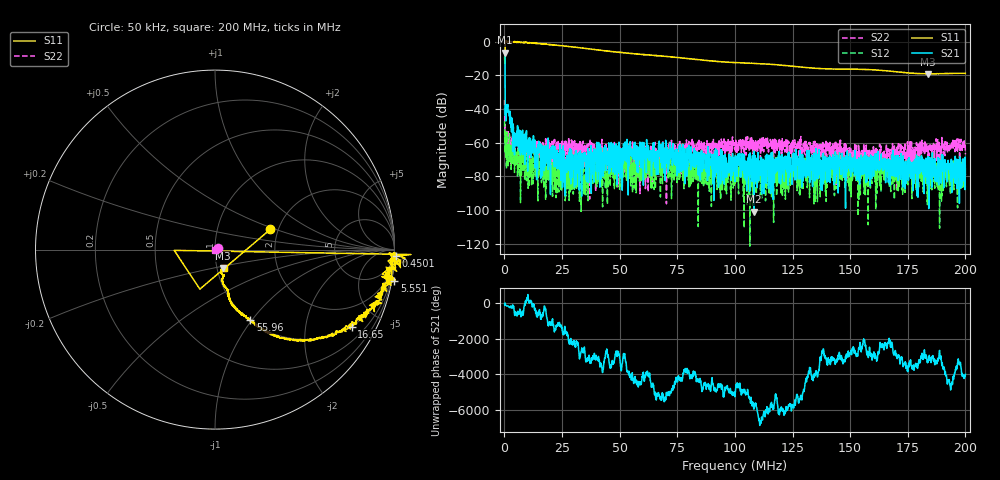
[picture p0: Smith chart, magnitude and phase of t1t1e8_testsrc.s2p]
! 12-May-26 12:35:12 PM
! E:\REC_VNA_20260512\T1T1E8_TESTSRC.S2P
! CHANNEL.1
! TR.MEASUREMENT
! CORRECTED.DATA
# GHZ S RI R 50.0
! FREQ.GHZ  S11RE  S11IM  S21RE  S21IM  S12RE  S12IM  S22RE  S22IM
!; PortSelection: Port_12
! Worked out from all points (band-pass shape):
!   2000 points, 50 kHz to 200 MHz, reference 50 ohm
!   highest |S21| = -6.56 dB at 50 kHz (marker M1); lowest = -100.9 dB at 108.2 MHz (marker M2)
!   |S21| within 3 dB of the highest: start of sweep to 251.8 kHz
!   lowest |S11| = -19.1 dB at 183.9 MHz (marker M3), VSWR 1.25, Z = 53.3 - j11 ohm
!   |S11| at or under -10 dB: 60.72 kHz to 271.2 kHz (210.4 kHz wide, 127 % of centre); 79.26116 MHz to 79.37369 MHz (112.5 kHz wide, 0.142 % of centre); 79.64 MHz to end of sweep
!   |S22| runs from -96.2 to -34.5 dB; largest |S21 - S12| = 0.47
!   S11 on the Smith chart (normalised r, x): 50 kHz: 1.81, +0.46; 450.1 kHz: -10, -52; 5.551 MHz: -1, -11; 16.65 MHz: 0.98, -3.56; 55.96 MHz: 1.01, -0.98; 200 MHz: 1.08, -0.23
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5e-05  0.3077 0.1123  0.3579 -0.3042  0.00313 -0.00309  0.0151 0.0114
0.0004501  1.007 -0.0373  -0.00352 -0.0108  -0.000906 0.000553  5.49e-05 -0.00183
0.001350325  1.011 -0.0481  -0.0111 -0.0041  0.000828 0.000226  -0.000377 -9.01e-05
0.004351076  0.9486 -0.1262  8.85e-05 0.000428  1.17e-05 0.000131  0.00145 0.00105
0.005551376  0.9988 -0.1769  -0.00101 6.8e-05  -0.000265 0.000458  0.00114 -0.000481
0.01665415  0.7619 -0.4293  0.000329 -1e-05  0.000109 -0.000259  0.00106 8.42e-05
0.02105525  0.6431 -0.476  0.000285 -0.000342  -7.87e-05 -0.000223  0.000162 9.8e-05
0.0308577  0.4619 -0.5059  0.000317 0.000492  -2.05e-05 -7.15e-05  0.000497 0.000789
0.03345835  0.419 -0.4983  1.62e-05 -2.03e-05  -6.36e-05 4.34e-05  0.000289 8.43e-05
0.04766191  0.2524 -0.4354  0.00077 0.000324  2.43e-05 -3.64e-05  0.000953 -0.000372
0.05036258  0.2303 -0.4224  5.65e-05 0.000124  8.06e-05 0.000235  0.000492 0.000114
0.05226306  0.2188 -0.4135  0.000279 -0.000915  6e-05 0.000225  0.000273 9.3e-05
0.05596398  0.1977 -0.3927  -4.67e-05 -0.000327  -0.000137 3.47e-05  0.00016 0.000161
0.06676668  0.1431 -0.358  0.000299 0.00013  -0.000387 -0.000228  0.000221 -0.000224
0.100075  0.0726 -0.2322  1.56e-05 -6.92e-05  4.35e-05 -4.82e-05  0.000502 0.000379
0.108177  0.0666 -0.2187  -9e-06 1e-07  0.000114 -6.02e-05  0.000308 0.000948
0.1333833  0.042 -0.1606  7.57e-05 0.000138  -9.38e-05 -2.12e-05  -0.000159 0.00058
0.1476869  0.0505 -0.145  0.000277 0.000202  -8.96e-05 0.000107  -0.000236 0.000502
0.1513878  0.0508 -0.1447  0.00016 -0.000114  0.000151 -0.000142  0.000144 0.000128
0.1666917  0.0362 -0.1303  1.36e-05 -0.000169  6.84e-05 0.000136  -0.000574 -0.000279
0.183896  0.0433 -0.1022  2.42e-05 0.000107  5.32e-05 -5.25e-05  0.000236 -0.00059
0.2  0.0481 -0.1042  9.41e-05 -6.9e-05  -3.67e-05 3.28e-05  0.000457 3.19e-05
